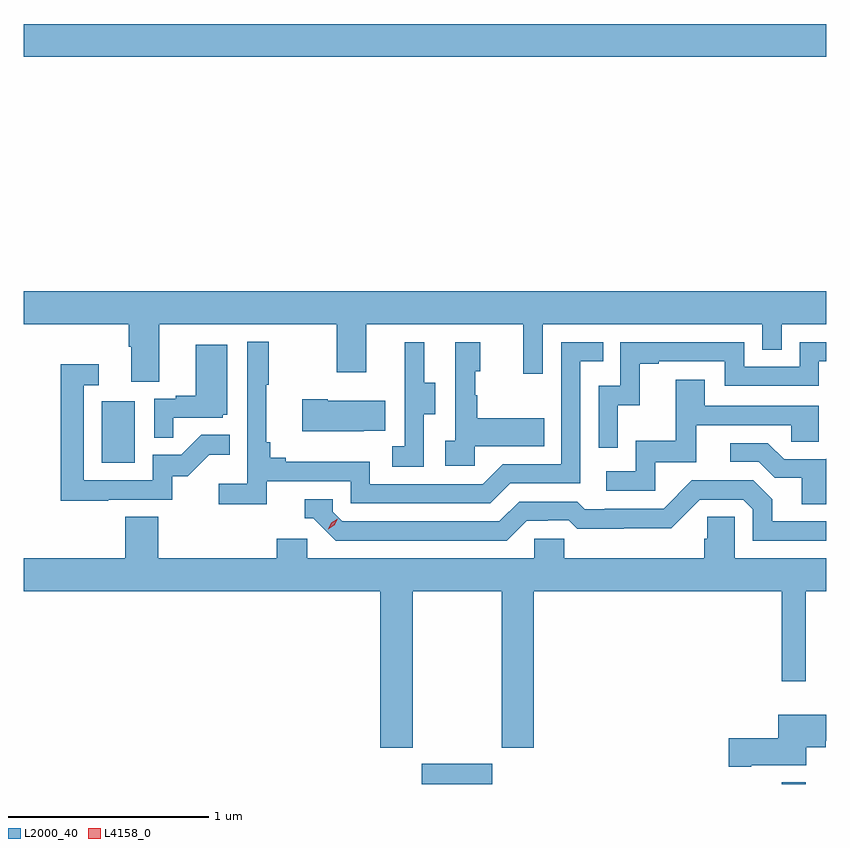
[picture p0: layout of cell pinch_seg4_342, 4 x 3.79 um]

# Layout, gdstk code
import gdstk
lib = gdstk.Library(unit=1e-6, precision=1e-09)
def R(c, l, rs):  # rectangles x0, y0, x1, y1
    for r in rs: c.add(gdstk.rectangle(r[:2], r[2:], *l))
def P(c, l, *ps):  # polygons
    for p in ps: c.add(gdstk.Polygon(p, *l))
L2000_40 = (2000, 40)
L4158_0 = (4158, 0)

pinch_seg4_342 = lib.new_cell('pinch_seg4_342')
R(pinch_seg4_342, L2000_40, [(1010.294,798.524,1010.644,798.625), (1012.086,798.524,1012.207,798.532), (1008.698,800.124,1008.862,800.431), (1008.309,802.148,1012.309,802.312)])
P(pinch_seg4_342, L2000_40, [(1008.985,800.816),(1009.87,800.816),(1009.87,800.577),(1010.017,800.577),(1010.017,800.816),(1010.798,800.816),(1010.798,800.568),(1010.895,800.568),(1010.895,800.816),(1011.99,800.816),(1011.99,800.689),(1012.086,800.689),(1012.086,800.816),(1012.309,800.816),(1012.309,800.98),(1008.309,800.98),(1008.309,800.816),(1008.833,800.816),(1008.833,800.704),(1008.845,800.704),(1008.845,800.53),(1008.985,800.53)],
  [(1009.52,800.034),(1009.938,800.034),(1009.938,799.923),(1010.635,799.923),(1010.734,800.022),(1011.084,800.022),(1011.084,800.631),(1011.197,800.631),(1011.197,800.727),(1010.988,800.727),(1010.988,800.118),(1010.697,800.118),(1010.598,800.019),(1010.034,800.019),(1010.034,800.131),(1009.615,800.131),(1009.615,800.15),(1009.538,800.15),(1009.538,800.227),(1009.519,800.227),(1009.519,800.515),(1009.531,800.515),(1009.531,800.728),(1009.422,800.728),(1009.422,800.02),(1009.281,800.02),(1009.281,799.918),(1009.52,799.918)],
  [(1011.27,800.411),(1011.38,800.411),(1011.38,800.619),(1011.475,800.619),(1011.475,800.631),(1011.804,800.631),(1011.804,800.508),(1012.272,800.508),(1012.272,800.631),(1012.309,800.631),(1012.309,800.727),(1012.176,800.727),(1012.176,800.604),(1011.9,800.604),(1011.9,800.727),(1011.282,800.727),(1011.282,800.508),(1011.174,800.508),(1011.174,800.199),(1011.27,800.199)],
  [(1010.304,800.368),(1010.359,800.368),(1010.359,800.523),(1010.305,800.523),(1010.305,800.725),(1010.207,800.725),(1010.207,800.511),(1010.208,800.511),(1010.208,800.207),(1010.145,800.207),(1010.145,800.104),(1010.304,800.104)],
  [(1010.556,800.207),(1010.903,800.207),(1010.903,800.347),(1010.569,800.347),(1010.569,800.462),(1010.559,800.462),(1010.559,800.58),(1010.584,800.58),(1010.584,800.725),(1010.46,800.725),(1010.46,800.234),(1010.409,800.234),(1010.409,800.109),(1010.556,800.109)],
  [(1009.055,800.349),(1009.302,800.349),(1009.302,800.364),(1009.324,800.364),(1009.324,800.713),(1009.166,800.713),(1009.166,800.458),(1009.067,800.458),(1009.067,800.445),(1008.96,800.445),(1008.96,800.251),(1009.055,800.251)],
  [(1008.731,799.941),(1009.05,799.941),(1009.05,800.058),(1009.126,800.058),(1009.233,800.165),(1009.337,800.165),(1009.337,800.264),(1009.193,800.264),(1009.095,800.166),(1008.951,800.166),(1008.951,800.037),(1008.609,800.037),(1008.609,800.511),(1008.682,800.511),(1008.682,800.617),(1008.493,800.617),(1008.493,799.936),(1008.731,799.936)],
  [(1011.456,800.127),(1011.661,800.127),(1011.661,800.313),(1012.135,800.313),(1012.135,800.229),(1012.272,800.229),(1012.272,800.409),(1011.703,800.409),(1011.703,800.539),(1011.559,800.539),(1011.559,800.236),(1011.36,800.236),(1011.36,800.082),(1011.213,800.082),(1011.213,799.986),(1011.456,799.986)],
  [(1010.003,800.285),(1010.111,800.285),(1010.111,800.434),(1009.825,800.434),(1009.825,800.442),(1009.697,800.442),(1009.697,800.282),(1010.003,800.282)],
  [(1012.309,800.146),(1012.305,800.142),(1012.099,800.142),(1012.018,800.223),(1011.831,800.223),(1011.831,800.13),(1011.972,800.13),(1012.052,800.05),(1012.187,800.05),(1012.187,799.918),(1012.309,799.918)],
  [(1010.815,799.836),(1010.922,799.836),(1010.922,799.839),(1011.025,799.839),(1011.067,799.797),(1011.3,799.797),(1011.3,799.799),(1011.536,799.799),(1011.678,799.941),(1011.894,799.941),(1011.942,799.893),(1011.942,799.737),(1012.309,799.737),(1012.309,799.833),(1012.039,799.833),(1012.039,799.943),(1011.945,800.037),(1011.639,800.037),(1011.498,799.896),(1011.205,799.896),(1011.205,799.893),(1011.106,799.893),(1011.067,799.932),(1010.778,799.932),(1010.679,799.833),(1009.896,799.833),(1009.848,799.881),(1009.848,799.944),(1009.709,799.944),(1009.709,799.848),(1009.752,799.848),(1009.863,799.737),(1010.716,799.737)],
  [(1011.715,799.856),(1011.715,799.746),(1011.701,799.746),(1011.701,799.648),(1011.003,799.648),(1011.003,799.746),(1010.853,799.746),(1010.853,799.648),(1009.722,799.648),(1009.722,799.746),(1009.571,799.746),(1009.571,799.648),(1008.98,799.648),(1008.98,799.856),(1008.815,799.856),(1008.815,799.648),(1008.309,799.648),(1008.309,799.484),(1010.087,799.484),(1010.087,798.705),(1010.247,798.705),(1010.247,799.484),(1010.692,799.484),(1010.692,798.705),(1010.852,798.705),(1010.852,799.484),(1012.086,799.484),(1012.086,799.035),(1012.207,799.035),(1012.207,799.484),(1012.309,799.484),(1012.309,799.648),(1011.852,799.648),(1011.852,799.856)],
  [(1011.934,798.617),(1012.21,798.617),(1012.21,798.707),(1012.306,798.707),(1012.306,798.739),(1012.309,798.739),(1012.309,798.868),(1012.07,798.868),(1012.07,798.752),(1011.822,798.752),(1011.822,798.61),(1011.934,798.61)])
P(pinch_seg4_342, L4158_0, [(1009.826,799.793),(1009.826,799.793),(1009.842,799.827),(1009.873,799.847),(1009.873,799.847),(1009.873,799.847),(1009.857,799.814),(1009.826,799.793)])

lib.write_gds('pinch_seg4_342.gds')
